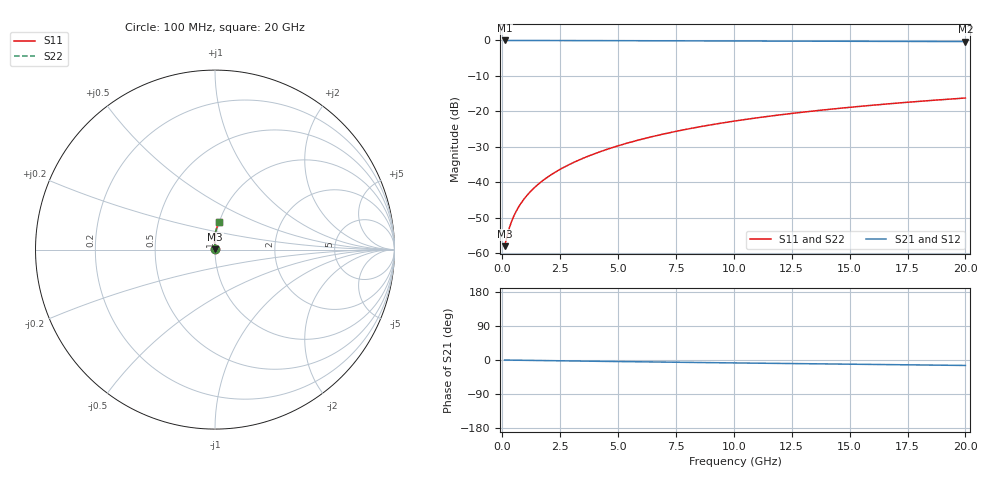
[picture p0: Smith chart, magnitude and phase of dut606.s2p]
! Touchstone file exported from HFSS 2024.1.0
!  File:  C:/UserFiles/LocalFiles/RDL_TSV_Batchsim/temp_RDL_top_606_1779779574.aedt
!  Generated:  03:15:46 PM May 26, 2026
!  Design:  RDL_top
!  Project:  temp_RDL_top_606_1779779574
!  Setup:  Setup1
!  Solution:  Sweep
! Variables:
!  dtsv = 10.80580581um
!  hbump = 3um
!  htsv = 57.24um
!  ldown = 100um
!  lrdl = 170.79um
!  p = 40
!  p1 = 55.49um
!  rhole = 1um
!  t = 450um
!  tdown = 3.915915916um
!  trdl = 2.81um
!  wdown = 15.38538539um
!  wrdl = 29.19um
# GHz S MA R 50.000000
! Terminal data exported
! Port[1] = Box2_T1
! Port[2] = Box2_T2
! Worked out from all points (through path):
!   200 points, 100 MHz to 20 GHz, reference 50 ohm
!   highest |S21| = -0.01 dB at 100 MHz (marker M1); lowest = -0.3 dB at 20 GHz (marker M2)
!   group delay of S21, straight-line fit = 1.96 ps
!   lowest |S11| = -58.0 dB at 100 MHz (marker M3), VSWR 1.00, Z = 50.1 + j0.0671 ohm
!   |S11| at or under -10 dB: start of sweep to end of sweep
!   |S22| runs from -58.0 to -16.2 dB; largest |S21 - S12| = 3.1e-15
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0.1  0.001259 32.1  0.9989 -0.1  0.9989 -0.1  0.001259 32.1
! Gamma 0 0 0 0
! Port Impedance 50 0 50 0
0.2  0.001721 50.0  0.9989 -0.2  0.9989 -0.2  0.001721 50.0
0.3  0.002257 59.3  0.9988 -0.3  0.9988 -0.3  0.002257 59.3
0.4  0.002806 64.9  0.9987 -0.4  0.9987 -0.4  0.002806 64.9
0.5  0.003358 68.8  0.9986 -0.4  0.9986 -0.4  0.003358 68.8
0.6  0.003911 71.8  0.9986 -0.5  0.9986 -0.5  0.003911 71.8
0.8  0.005027 76.0  0.9984 -0.7  0.9984 -0.7  0.005027 76.0
1.1  0.006736 80.3  0.9982 -0.9  0.9982 -0.9  0.006735 80.3
1.3  0.007899 82.3  0.998 -1.1  0.998 -1.1  0.007898 82.3
1.6  0.009678 84.6  0.9977 -1.4  0.9977 -1.4  0.009678 84.7
2.1  0.01273 87.4  0.9971 -1.8  0.9971 -1.8  0.01273 87.4
2.7  0.01656 89.6  0.9962 -2.3  0.9962 -2.3  0.01656 89.6
3.5  0.02191 91.4  0.9948 -2.9  0.9948 -2.9  0.02191 91.4
4.2  0.02684 92.4  0.9935 -3.5  0.9935 -3.5  0.02684 92.4
5  0.03271 93.0  0.9918 -4.1  0.9918 -4.1  0.03271 93.0
5.9  0.03958 93.2  0.9898 -4.8  0.9898 -4.8  0.03958 93.2
6.8  0.04666 93.0  0.9879 -5.4  0.9879 -5.4  0.04666 93.0
8.4  0.05961 92.1  0.9845 -6.6  0.9845 -6.6  0.05961 92.1
10.1  0.07362 90.8  0.981 -7.8  0.981 -7.8  0.07362 90.8
13.4  0.1009 87.8  0.9749 -10.0  0.9749 -10.0  0.1009 87.8
16.7  0.1279 84.7  0.9691 -12.2  0.9691 -12.2  0.1279 84.7
20  0.1543 81.8  0.9633 -14.4  0.9633 -14.4  0.1543 81.8
